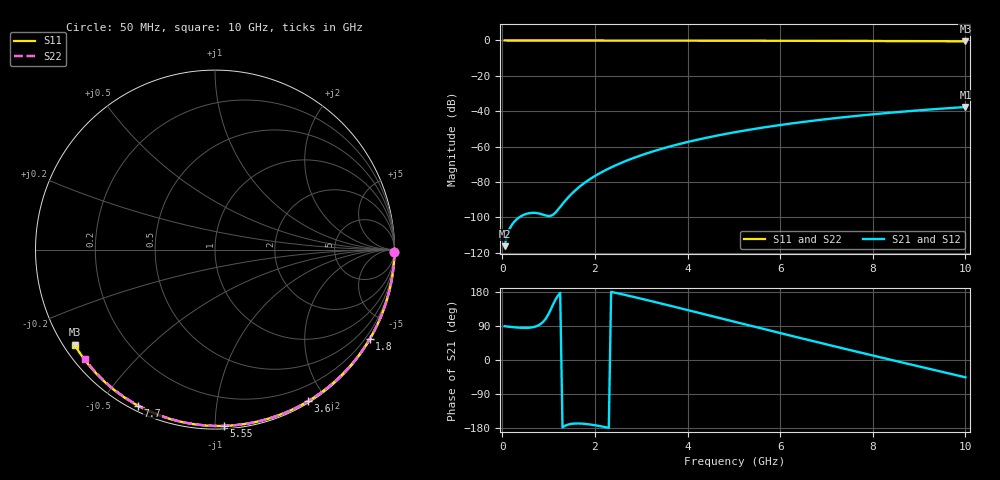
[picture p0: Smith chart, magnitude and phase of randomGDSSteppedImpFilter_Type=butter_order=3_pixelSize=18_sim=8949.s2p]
! freq	dB(S11)	phase(S11)	dB(S12)	phase(S12)
!  dB(S21)	phase(S21)	dB(S22)	phase(S22)
!S-par simulation data
#  GHz  S  DB  R 50
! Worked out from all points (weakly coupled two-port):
!   200 points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, 50 MHz to 10 GHz, reference 50 ohm
!   highest |S21| = -37.61 dB at 10 GHz (marker M1); lowest = -116.2 dB at 50 MHz (marker M2)
!   lowest |S11| = -0.5 dB at 10 GHz (marker M3), VSWR 35.20, Z = 1.55 - j15.3 ohm
!   |S11| at or under -10 dB: nowhere
!   |S22| runs from -0.5 to 0.0 dB; largest |S21 - S12| = 0
!   S11 on the Smith chart (normalised r, x): 50 MHz: open; 1.8 GHz: 0.03, -3.73; 3.6 GHz: 0.02, -1.78; 5.55 GHz: 0.02, -1.05; 7.7 GHz: 0.02, -0.62; 10 GHz: 0.03, -0.31
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0.05  -0.00 -0.9  -116.21 89.2  -116.21 89.2  -0.00 -0.8
0.45  -0.01 -7.6  -98.65 84.8  -98.65 84.8  -0.01 -7.3
0.9  -0.02 -15.2  -98.57 103.0  -98.57 103.0  -0.02 -14.5
1.3  -0.03 -21.8  -92.40 -177.6  -92.40 -177.6  -0.03 -20.9
1.75  -0.04 -29.2  -80.96 -168.2  -80.96 -168.2  -0.04 -28.0
1.8  -0.04 -30.0  -80.00 -168.8  -80.00 -168.8  -0.04 -28.7
1.95  -0.04 -32.5  -77.39 -171.2  -77.39 -171.2  -0.04 -31.1
2.1  -0.04 -34.9  -75.08 -174.2  -75.08 -174.2  -0.04 -33.4
2.3  -0.05 -38.2  -72.34 -178.9  -72.34 -178.9  -0.05 -36.5
2.5  -0.05 -41.4  -69.92 175.9  -69.92 175.9  -0.05 -39.6
2.9  -0.06 -47.7  -65.77 164.7  -65.77 164.7  -0.06 -45.7
3.4  -0.07 -55.5  -61.52 150.0  -61.52 150.0  -0.07 -53.2
3.6  -0.08 -58.6  -60.04 144.0  -60.04 144.0  -0.08 -56.1
4.3  -0.10 -69.1  -55.58 122.7  -55.58 122.7  -0.09 -66.3
5.05  -0.12 -80.1  -51.71 99.9  -51.71 99.9  -0.12 -76.8
5.55  -0.14 -87.2  -49.53 84.7  -49.53 84.7  -0.14 -83.7
6.1  -0.17 -94.9  -47.40 68.1  -47.40 68.1  -0.16 -91.1
6.7  -0.20 -103.0  -45.37 50.1  -45.37 50.1  -0.19 -98.9
7.7  -0.27 -116.3  -42.48 20.6  -42.48 20.6  -0.26 -111.7
8.35  -0.32 -124.7  -40.88 1.7  -40.88 1.7  -0.31 -119.8
9.2  -0.40 -135.6  -39.07 -22.8  -39.07 -22.8  -0.39 -130.3
10  -0.49 -145.8  -37.61 -45.6  -37.61 -45.6  -0.47 -140.0
